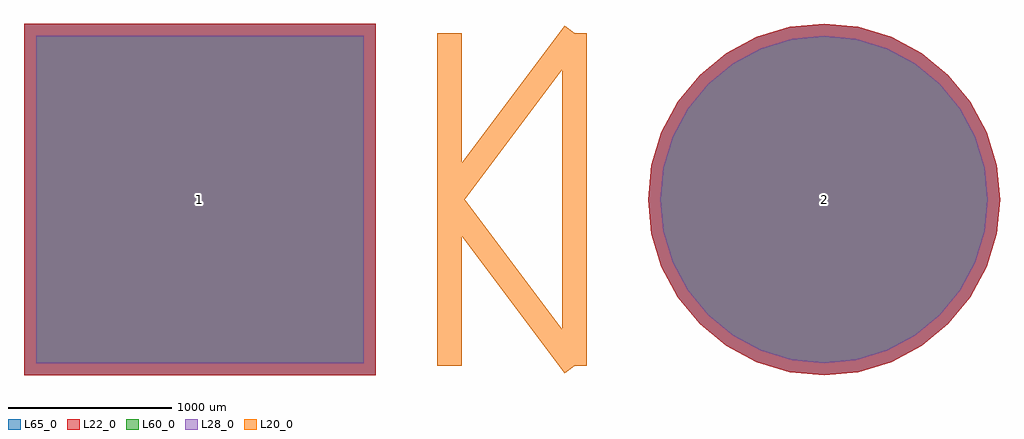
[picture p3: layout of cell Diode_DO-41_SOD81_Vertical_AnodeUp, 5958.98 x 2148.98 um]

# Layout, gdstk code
import gdstk
lib = gdstk.Library(unit=1e-6, precision=1e-09)
def R(c, l, rs):  # rectangles x0, y0, x1, y1
    for r in rs: c.add(gdstk.rectangle(r[:2], r[2:], *l))
def P(c, l, *ps):  # polygons
    for p in ps: c.add(gdstk.Polygon(p, *l))
L20_0 = (20, 0)
L22_0 = (22, 0)
L28_0 = (28, 0)
L60_0 = (60, 0)
L65_0 = (65, 0)

diode_do_41_sod81_vertic = lib.new_cell('Diode_DO-41_SOD81_Vertical_AnodeUp')
R(diode_do_41_sod81_vertic, L22_0, [(-1074.49,-1074.49,1074.49,1074.49)])
P(diode_do_41_sod81_vertic, L22_0, [(4884.49,0),(4863.844,209.623),(4802.699,411.19),(4703.406,596.955),(4569.779,759.779),(4406.955,893.406),(4221.19,992.699),(4019.623,1053.844),(3810,1074.49),(3600.377,1053.844),(3398.81,992.699),(3213.045,893.406),(3050.221,759.779),(2916.594,596.955),(2817.301,411.19),(2756.156,209.623),(2735.51,0),(2756.156,-209.623),(2817.301,-411.19),(2916.594,-596.955),(3050.221,-759.779),(3213.045,-893.406),(3398.81,-992.699),(3600.377,-1053.844),(3810,-1074.49),(4019.623,-1053.844),(4221.19,-992.699),(4406.955,-893.406),(4569.779,-759.779),(4703.406,-596.955),(4802.699,-411.19),(4863.844,-209.623)])
R(diode_do_41_sod81_vertic, L28_0, [(-999.49,-999.49,999.49,999.49)])
P(diode_do_41_sod81_vertic, L28_0, [(4809.49,0),(4790.285,194.991),(4733.408,382.488),(4641.046,555.287),(4516.746,706.746),(4365.287,831.046),(4192.488,923.408),(4004.991,980.285),(3810,999.49),(3615.009,980.285),(3427.512,923.408),(3254.713,831.046),(3103.254,706.746),(2978.954,555.287),(2886.592,382.488),(2829.715,194.991),(2810.51,0),(2829.715,-194.991),(2886.592,-382.488),(2978.954,-555.287),(3103.254,-706.746),(3254.713,-831.046),(3427.512,-923.408),(3615.009,-980.285),(3810,-999.49),(4004.991,-980.285),(4192.488,-923.408),(4365.287,-831.046),(4516.746,-706.746),(4641.046,-555.287),(4733.408,-382.488),(4790.285,-194.991)])
R(diode_do_41_sod81_vertic, L60_0, [(-999.49,-999.49,999.49,999.49)])
P(diode_do_41_sod81_vertic, L60_0, [(4809.49,0),(4790.285,194.991),(4733.408,382.488),(4641.046,555.287),(4516.746,706.746),(4365.287,831.046),(4192.488,923.408),(4004.991,980.285),(3810,999.49),(3615.009,980.285),(3427.512,923.408),(3254.713,831.046),(3103.254,706.746),(2978.954,555.287),(2886.592,382.488),(2829.715,194.991),(2810.51,0),(2829.715,-194.991),(2886.592,-382.488),(2978.954,-555.287),(3103.254,-706.746),(3254.713,-831.046),(3427.512,-923.408),(3615.009,-980.285),(3810,-999.49),(4004.991,-980.285),(4192.488,-923.408),(4365.287,-831.046),(4516.746,-706.746),(4641.046,-555.287),(4733.408,-382.488),(4790.285,-194.991)])
R(diode_do_41_sod81_vertic, L65_0, [(-1074.49,-1074.49,1074.49,1074.49)])
P(diode_do_41_sod81_vertic, L65_0, [(4884.49,0),(4863.844,209.623),(4802.699,411.19),(4703.406,596.955),(4569.779,759.779),(4406.955,893.406),(4221.19,992.699),(4019.623,1053.844),(3810,1074.49),(3600.377,1053.844),(3398.81,992.699),(3213.045,893.406),(3050.221,759.779),(2916.594,596.955),(2817.301,411.19),(2756.156,209.623),(2735.51,0),(2756.156,-209.623),(2817.301,-411.19),(2916.594,-596.955),(3050.221,-759.779),(3213.045,-893.406),(3398.81,-992.699),(3600.377,-1053.844),(3810,-1074.49),(4019.623,-1053.844),(4221.19,-992.699),(4406.955,-893.406),(4569.779,-759.779),(4703.406,-596.955),(4802.699,-411.19),(4863.844,-209.623)])
diode_do_41_sod81_vertic.add(gdstk.FlexPath([(2286,1016),(2286,-1016)], 149.998, ends="flush", simple_path=True, layer=20, datatype=0))  # L20_0
diode_do_41_sod81_vertic.add(gdstk.FlexPath([(1524,1016),(1524,-1016)], 149.998, ends="flush", simple_path=True, layer=20, datatype=0))  # L20_0
diode_do_41_sod81_vertic.add(gdstk.FlexPath([(1524,0),(2286,1016)], 149.998, ends="flush", simple_path=True, layer=20, datatype=0))  # L20_0
diode_do_41_sod81_vertic.add(gdstk.FlexPath([(1524,0),(2286,-1016)], 149.998, ends="flush", simple_path=True, layer=20, datatype=0))  # L20_0
diode_do_41_sod81_vertic.add(gdstk.Label('1', (0,0), layer=28, texttype=0))
diode_do_41_sod81_vertic.add(gdstk.Label('2', (3810,0), layer=28, texttype=0))
diode_do_41_sod81_vertic.add(gdstk.Label('A', (2794,-1651), layer=9, texttype=0))
diode_do_41_sod81_vertic.add(gdstk.Label('type', (50,2000), layer=9, texttype=0))
diode_do_41_sod81_vertic.add(gdstk.Label('devicename', (0,-3175), layer=9, texttype=0))

lib.write_gds('Diode_DO-41_SOD81_Vertical_AnodeUp.gds')
